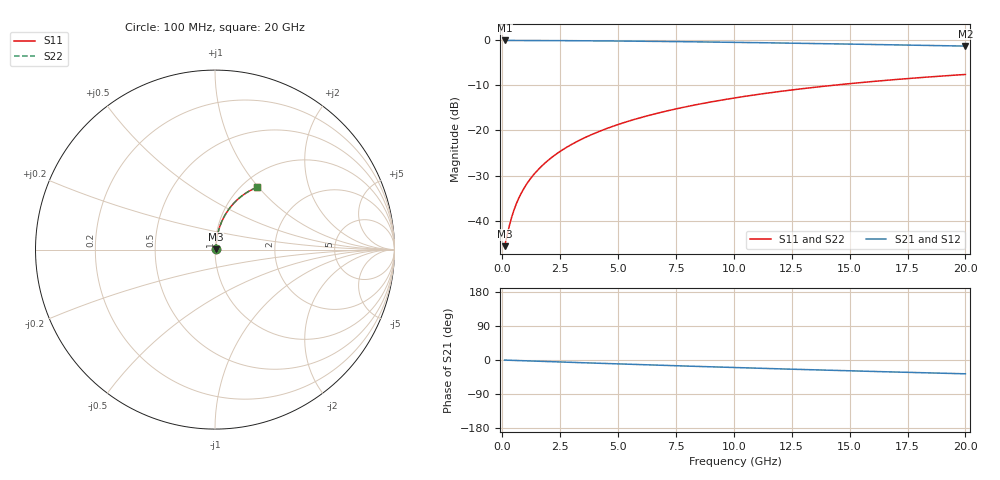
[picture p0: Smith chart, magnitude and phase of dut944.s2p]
! Touchstone file exported from HFSS 2024.1.0
!  File:  C:/UserFiles/LocalFiles/RDL_TSV_Batchsim/temp_RDL_top_944_1779937672.aedt
!  Generated:  11:11:12 AM May 28, 2026
!  Design:  RDL_top
!  Project:  temp_RDL_top_944_1779937672
!  Setup:  Setup1
!  Solution:  Sweep
! Variables:
!  dtsv = 10.80580581um
!  hbump = 3um
!  htsv = 98.53um
!  ldown = 100um
!  lrdl = 458.61um
!  p = 40
!  p1 = 44.86um
!  rhole = 1um
!  t = 450um
!  tdown = 3.915915916um
!  trdl = 2.88um
!  wdown = 15.38538539um
!  wrdl = 12.53um
# GHz S MA R 50.000000
! Terminal data exported
! Port[1] = Box2_T1
! Port[2] = Box2_T2
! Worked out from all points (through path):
!   200 points, 100 MHz to 20 GHz, reference 50 ohm
!   highest |S21| = -0.04 dB at 100 MHz (marker M1); lowest = -1.3 dB at 20 GHz (marker M2)
!   group delay of S21, straight-line fit = 5.06 ps
!   lowest |S11| = -45.6 dB at 100 MHz (marker M3), VSWR 1.01, Z = 50.5 + j0.246 ohm
!   |S11| at or under -10 dB: start of sweep to 14.25 GHz
!   |S22| runs from -45.6 to -7.6 dB; largest |S21 - S12| = 2.1e-15
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0.1  0.005218 27.8  0.9954 -0.2  0.9954 -0.2  0.005218 27.8
! Gamma 0 0 0 0
! Port Impedance 50 0 50 0
0.3  0.008695 56.6  0.9952 -0.6  0.9952 -0.6  0.008695 56.6
0.4  0.01082 63.0  0.9951 -0.9  0.9951 -0.9  0.01082 63.0
0.5  0.01302 67.2  0.995 -1.1  0.995 -1.1  0.01302 67.2
0.6  0.01525 70.1  0.9948 -1.3  0.9948 -1.3  0.01525 70.1
0.7  0.01749 72.2  0.9947 -1.5  0.9947 -1.5  0.01749 72.2
0.9  0.02202 75.1  0.9944 -1.9  0.9944 -1.9  0.02202 75.1
1.2  0.02884 77.6  0.9939 -2.5  0.9939 -2.5  0.02884 77.6
1.4  0.0334 78.6  0.9936 -2.9  0.9936 -2.9  0.0334 78.6
1.7  0.04028 79.6  0.993 -3.6  0.993 -3.6  0.04028 79.6
2.2  0.05178 80.4  0.9919 -4.6  0.9919 -4.6  0.05178 80.4
2.8  0.06562 80.7  0.9903 -5.8  0.9903 -5.8  0.06563 80.7
3.5  0.0818 80.4  0.9879 -7.2  0.9879 -7.2  0.08181 80.5
4.2  0.09798 79.9  0.9851 -8.7  0.9851 -8.7  0.09798 79.9
5  0.1164 79.1  0.9814 -10.3  0.9814 -10.3  0.1164 79.1
5.9  0.1371 77.9  0.9767 -12.0  0.9767 -12.0  0.1371 77.9
6.8  0.1576 76.7  0.9714 -13.8  0.9714 -13.8  0.1576 76.7
8.3  0.1914 74.4  0.9615 -16.7  0.9615 -16.7  0.1914 74.5
10.1  0.2309 71.6  0.9483 -20.0  0.9483 -20.0  0.2309 71.6
13.4  0.2995 66.3  0.9212 -25.8  0.9212 -25.8  0.2995 66.3
16.7  0.362 61.0  0.8921 -31.3  0.8921 -31.3  0.3621 61.1
20  0.4179 56.1  0.8621 -36.4  0.8621 -36.4  0.4181 56.1
